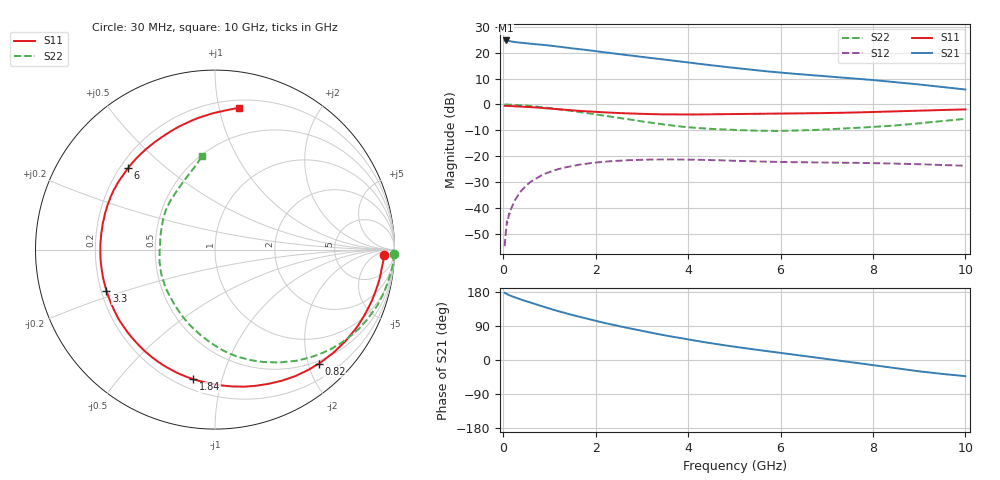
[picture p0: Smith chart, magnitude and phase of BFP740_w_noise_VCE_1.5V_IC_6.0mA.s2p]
! Infineon Technologies  Discrete & RF Semiconductors
! BFP740
! VCE =  1.5 V,  IC =  6.0 mA
! Common Emitter S-Parameters:  Jan 2016
# GHz  S  MA  R  50
!  f  S11  S21  S12  S22
! GHz  MAG  ANG  MAG  ANG  MAG  ANG  MAG  ANG
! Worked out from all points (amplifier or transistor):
!   229 points, 30 MHz to 10 GHz, reference 50 ohm
!   highest |S21| = 24.8 dB at 50 MHz (marker M1)
!   |S21| within 3 dB of that: start of sweep to 1.466 GHz
!   unconditionally stable (mu >= 1): 7.665 GHz to end of sweep
!   at 280 MHz: K = 0.10, MSG = 30.2 dB, |S12| = -36.4 dB
!   at 1.78 GHz: K = 0.25, MSG = 22.0 dB, |S12| = -23.0 dB
!   at 10 GHz: K = 1.17, MAG = 12.3 dB, |S12| = -23.7 dB
!   lowest NFmin = 0.45 dB at 450 MHz
!   S11 on the Smith chart (normalised r, x): 30 MHz: 26, -13; 820 MHz: 0.45, -2.18; 1.84 GHz: 0.26, -0.81; 3.3 GHz: 0.22, -0.17; 6 GHz: 0.23, +0.38; 10 GHz: 0.26, +1.15
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0.03  0.9398 -1.8  17.28 177.4  0.0018 100.9  0.9967 -1.3
0.05  0.9389 -3.1  17.34 176.3  0.0029 106.8  0.9973 -2.3
0.13  0.9337 -8.1  16.93 171.1  0.0078 85.3  0.9917 -5.9
0.2  0.9278 -12.3  16.39 167.6  0.0109 83.2  0.9849 -8.8
0.34  0.9146 -20.5  15.83 161.5  0.0187 77.7  0.9696 -14.7
0.6  0.8874 -35.3  14.95 151.1  0.0321 67.8  0.9316 -25.0
0.82  0.8586 -47.8  14.38 142.6  0.0419 60.5  0.8912 -33.4
1.1  0.8199 -63.0  13.52 132.1  0.0529 51.6  0.8305 -43.9
1.2  0.8056 -68.1  13.15 128.6  0.0561 48.6  0.8085 -47.4
1.7  0.7447 -93.0  11.63 112.3  0.0693 35.8  0.7018 -63.4
1.84  0.7315 -99.5  11.22 108.1  0.0723 32.5  0.6739 -67.9
2.16  0.7054 -114.0  10.32 98.7  0.0774 25.4  0.6118 -77.7
2.5  0.6816 -128.4  9.463 89.5  0.0815 18.7  0.5511 -87.4
2.9  0.6622 -144.2  8.543 79.3  0.0842 11.8  0.4856 -99.1
3.3  0.6469 -159.2  7.74 69.6  0.0858 5.4  0.4308 -111.5
3.4  0.6441 -163.0  7.559 67.3  0.0857 3.9  0.418 -114.8
4.1  0.6387 174.7  6.336 52.1  0.0853 -5.5  0.3557 -137.3
5.1  0.6524 151.3  4.98 33.3  0.0808 -15.0  0.3185 -165.1
6  0.6628 136.9  4.143 18.8  0.0767 -20.2  0.3075 174.0
6.8  0.6777 125.4  3.61 6.2  0.0753 -24.3  0.3221 157.0
8.4  0.7312 100.0  2.75 -20.2  0.0718 -32.5  0.3862 124.4
10  0.8012 80.5  1.945 -42.7  0.065 -37.4  0.5252 98.1
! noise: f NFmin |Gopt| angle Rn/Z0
0.45  0.45  0.36  10  0.21
0.9  0.46  0.37  17  0.2
1.5  0.49  0.35  25  0.19
1.9  0.52  0.34  42  0.19
2.4  0.55  0.34  46  0.18
3.5  0.65  0.31  66  0.17
5.5  0.86  0.22  171  0.15
10  1.45  0.54  -80  0.2
